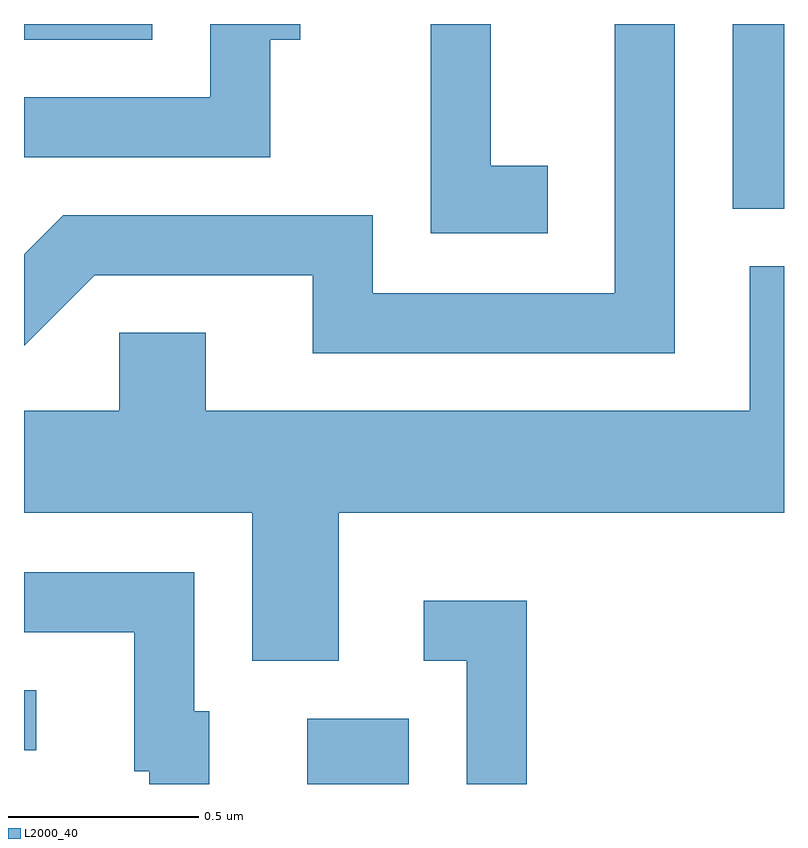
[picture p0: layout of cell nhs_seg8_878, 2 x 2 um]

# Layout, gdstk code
import gdstk
lib = gdstk.Library(unit=1e-6, precision=1e-09)
def R(c, l, rs):  # rectangles x0, y0, x1, y1
    for r in rs: c.add(gdstk.rectangle(r[:2], r[2:], *l))
def P(c, l, *ps):  # polygons
    for p in ps: c.add(gdstk.Polygon(p, *l))
L2000_40 = (2000, 40)

nhs_seg8_878 = lib.new_cell('nhs_seg8_878')
R(nhs_seg8_878, L2000_40, [(192.356,1862.342,192.624,1862.514), (191.611,1862.431,191.643,1862.589), (193.476,1863.856,193.611,1864.342), (191.611,1864.301,191.949,1864.342)])
P(nhs_seg8_878, L2000_40, [(192.259,1864.301),(192.338,1864.301),(192.338,1864.342),(192.101,1864.342),(192.101,1864.149),(191.611,1864.149),(191.611,1863.991),(192.259,1863.991)],
  [(193.324,1864.342),(193.166,1864.342),(193.166,1863.634),(192.529,1863.634),(192.529,1863.839),(191.714,1863.839),(191.611,1863.736),(191.611,1863.495),(191.797,1863.681),(192.371,1863.681),(192.371,1863.476),(193.324,1863.476)],
  [(192.989,1863.969),(192.839,1863.969),(192.839,1864.342),(192.681,1864.342),(192.681,1863.791),(192.989,1863.791)],
  [(192.439,1863.056),(193.611,1863.056),(193.611,1863.704),(193.521,1863.704),(193.521,1863.324),(192.089,1863.324),(192.089,1863.529),(191.861,1863.529),(191.861,1863.324),(191.611,1863.324),(191.611,1863.056),(192.211,1863.056),(192.211,1862.666),(192.439,1862.666)],
  [(192.099,1862.534),(192.059,1862.534),(192.059,1862.899),(191.611,1862.899),(191.611,1862.741),(191.901,1862.741),(191.901,1862.376),(191.941,1862.376),(191.941,1862.342),(192.099,1862.342)],
  [(192.934,1862.824),(192.663,1862.824),(192.663,1862.666),(192.776,1862.666),(192.776,1862.342),(192.934,1862.342)])

lib.write_gds('nhs_seg8_878.gds')
